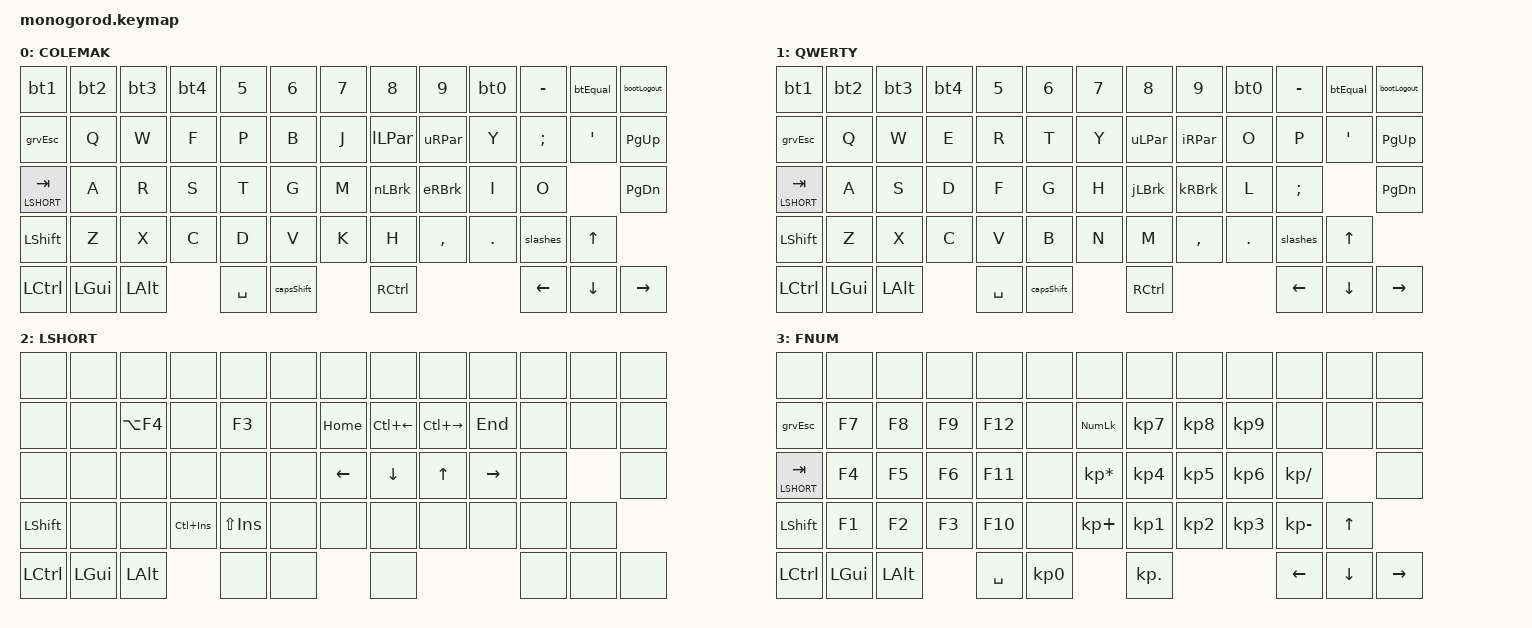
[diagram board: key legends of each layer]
#include <behaviors.dtsi>
#include <dt-bindings/zmk/keys.h>
#include <dt-bindings/zmk/bt.h>

#include "../../../../zmk-nodefree-config/helper.h"

#define COLEMAK 0
#define QWERTY 1
#define LSHORT 2
#define FNUM 3
#include "combos.dtsi"

// layer tap settings
&lt { flavor = "balanced"; tapping-term-ms = <200>; quick-tap-ms = <200>; require-prior-idle-ms = <200>; };

// sticky key settings
&sk {release-after-ms = <800>; quick-release;};

// sticky layer settings
&sl {ignore-modifiers; release-after-ms = <800>;};

// grave and escape mod morph
ZMK_BEHAVIOR(grvEsc, mod_morph, bindings = <&kp ESC>, <&kp GRAVE>; mods = <(MOD_RSFT|MOD_LSFT)>; keep-mods = <MOD_LSFT>;)

// bracket mod morphs
ZMK_BEHAVIOR(jLBrk, mod_morph, bindings = <&kp J>, <&kp LBKT>; mods = <(MOD_RSFT)>;)
ZMK_BEHAVIOR(nLBrk, mod_morph, bindings = <&kp N>, <&kp LBKT>; mods = <(MOD_RSFT)>;)
ZMK_BEHAVIOR(kRBrk, mod_morph, bindings = <&kp K>, <&kp RBKT>; mods = <(MOD_RSFT)>;)
ZMK_BEHAVIOR(eRBrk, mod_morph, bindings = <&kp E>, <&kp RBKT>; mods = <(MOD_RSFT)>;)

// parentheses mod morphs
ZMK_BEHAVIOR(uLPar, mod_morph, bindings = <&kp U>, <&kp LPAR>; mods = <(MOD_RSFT)>;)
ZMK_BEHAVIOR(lLPar, mod_morph, bindings = <&kp L>, <&kp LPAR>; mods = <(MOD_RSFT)>;)
ZMK_BEHAVIOR(iRPar, mod_morph, bindings = <&kp I>, <&kp RPAR>; mods = <(MOD_RSFT)>;)
ZMK_BEHAVIOR(uRPar, mod_morph, bindings = <&kp U>, <&kp RPAR>; mods = <(MOD_RSFT)>;)

// back slash and pipe mod morph
ZMK_BEHAVIOR(slashes, mod_morph, bindings = <&kp SLASH>, <&kp BACKSLASH>; mods = <(MOD_RSFT|MOD_RCTL)>; keep-mods = <MOD_RSFT>;)

// caps word morph
ZMK_BEHAVIOR(capsShift, mod_morph, bindings = <&sk RSFT>, <&caps_word>; mods = <(MOD_RSFT)>;)

// bootloader and logout mod morphs
ZMK_BEHAVIOR(bootLogout, mod_morph, bindings = <&kp LG(L)>, <&bootloader>; mods = <(MOD_RCTL)>;)

// BLE profiles and BLE clear mod morphs
ZMK_BEHAVIOR(bt0, mod_morph, bindings = <&kp N0>, <&bt BT_SEL 0>; mods = <(MOD_RCTL)>;)
ZMK_BEHAVIOR(bt1, mod_morph, bindings = <&kp N1>, <&bt BT_SEL 1>; mods = <(MOD_RCTL)>;)
ZMK_BEHAVIOR(bt2, mod_morph, bindings = <&kp N2>, <&bt BT_SEL 2>; mods = <(MOD_RCTL)>;)
ZMK_BEHAVIOR(bt3, mod_morph, bindings = <&kp N3>, <&bt BT_SEL 3>; mods = <(MOD_RCTL)>;)
ZMK_BEHAVIOR(bt4, mod_morph, bindings = <&kp N4>, <&bt BT_SEL 4>; mods = <(MOD_RCTL)>;)
ZMK_BEHAVIOR(btEqual, mod_morph, bindings = <&kp EQUAL>, <&bt BT_CLR>; mods = <(MOD_RCTL)>;)

// layers
ZMK_LAYER(
    COLEMAK,
    &bt1              &bt2       &bt3        &bt4        &kp N5      &kp N6      &kp N7     &kp N8      &kp N9      &bt0        &kp MINUS     &btEqual       &bootLogout
    &grvEsc           &kp Q      &kp W       &kp F       &kp P       &kp B       &kp J      &lLPar      &uRPar      &kp Y       &kp SEMI      &kp SQT        &kp PG_UP
    &lt LSHORT TAB    &kp A      &kp R       &kp S       &kp T       &kp G       &kp M      &nLBrk      &eRBrk      &kp I       &kp O                        &kp PG_DN
    &kp LSHFT         &kp Z      &kp X       &kp C       &kp D       &kp V       &kp K      &kp H       &kp COMMA   &kp DOT     &slashes      &kp UP
    &kp LCTRL         &kp LGUI   &kp LALT                &kp SPACE   &capsShift             &kp RCTRL                           &kp LEFT      &kp DOWN       &kp RIGHT,
    &inc_dec_kp C_VOL_DN C_VOL_UP
)

ZMK_LAYER(
    QWERTY,
    &bt1              &bt2       &bt3        &bt4        &kp N5      &kp N6      &kp N7     &kp N8      &kp N9      &bt0        &kp MINUS     &btEqual       &bootLogout
    &grvEsc           &kp Q      &kp W       &kp E       &kp R       &kp T       &kp Y      &uLPar      &iRPar      &kp O       &kp P         &kp SQT        &kp PG_UP
    &lt LSHORT TAB    &kp A      &kp S       &kp D       &kp F       &kp G       &kp H      &jLBrk      &kRBrk      &kp L       &kp SEMI                     &kp PG_DN
    &kp LSHFT         &kp Z      &kp X       &kp C       &kp V       &kp B       &kp N      &kp M       &kp COMMA   &kp DOT     &slashes      &kp UP
    &kp LCTRL         &kp LGUI   &kp LALT                &kp SPACE   &capsShift             &kp RCTRL                           &kp LEFT      &kp DOWN       &kp RIGHT,
    &inc_dec_kp C_VOL_DN C_VOL_UP
)

ZMK_LAYER(
    LSHORT,
    &none      &none     &none         &none        &none        &none    &none     &none         &none          &none      &none    &none    &none
    &none      &none     &kp LA(F4)    &none        &kp F3       &none    &kp HOME  &kp LC(LEFT)  &kp LC(RIGHT)  &kp END    &none    &none    &none
    &none      &none     &none         &none        &none        &none    &kp LEFT  &kp DOWN      &kp UP         &kp RIGHT  &none             &none
    &kp LSHFT  &none     &none         &kp LC(INS)  &kp LS(INS)  &none    &none     &none         &none          &none      &none    &none
    &kp LCTRL  &kp LGUI  &kp LALT                   &none        &none              &none                                   &none    &none    &none,
    &inc_dec_kp C_VOL_DN C_VOL_UP
)

ZMK_LAYER(
    FNUM,
    &none            &none      &none       &none        &none       &none      &none           &none       &none       &none       &none          &none    &none
    &grvEsc          &kp F7     &kp F8      &kp F9       &kp F12     &none      &kp KP_NLCK     &kp KP_N7   &kp KP_N8   &kp KP_N9   &none          &none    &none
    &lt LSHORT TAB   &kp F4     &kp F5      &kp F6       &kp F11     &none      &kp KP_MULTIPLY &kp KP_N4   &kp KP_N5   &kp KP_N6   &kp KP_DIVIDE           &none
    &kp LSHFT        &kp F1     &kp F2      &kp F3       &kp F10     &none      &kp KP_PLUS     &kp KP_N1   &kp KP_N2   &kp KP_N3   &kp KP_MINUS   &kp UP
    &kp LCTRL        &kp LGUI   &kp LALT                 &kp SPACE   &kp KP_N0                  &kp KP_DOT                          &kp LEFT       &kp DOWN &kp RIGHT,
    &inc_dec_kp C_VOL_DN C_VOL_UP
)

/* dummy layer for copy and paste
ZMK_LAYER(
    NAME,
    &none          &none      &none       &none        &none       &none      &none      &none      &none      &none      &none    &none    &none
    &none          &none      &none       &none        &none       &none      &none      &none      &none      &none      &none    &none    &none
    &none          &none      &none       &none        &none       &none      &none      &none      &none      &none      &none             &none
    &kp LSHFT      &none      &none       &none        &none       &none      &none      &none      &none      &none      &none    &none
    &kp LCTRL      &kp LGUI   &kp LALT                 &none       &none                 &none                            &none    &none    &none,
    &inc_dec_kp C_VOL_DN C_VOL_UP
)
*/

